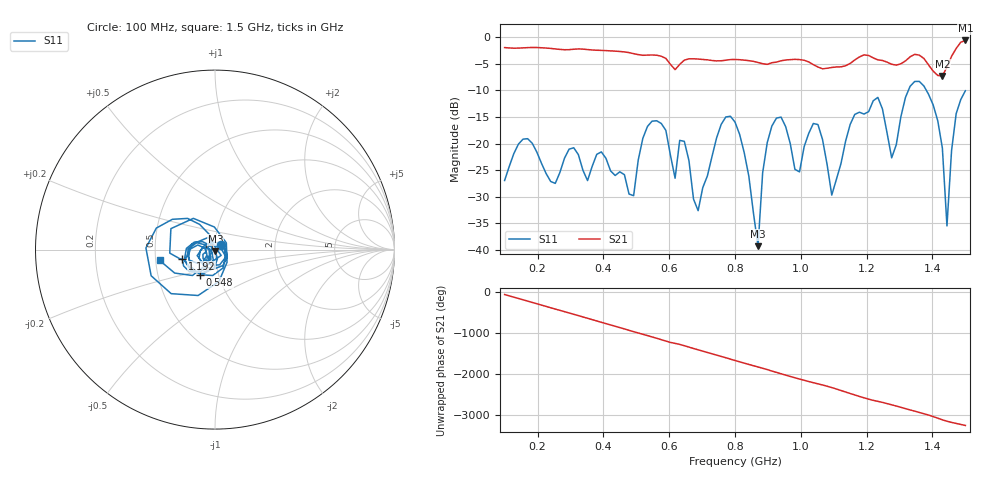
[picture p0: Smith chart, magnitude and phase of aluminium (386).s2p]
! NanoVNA-App
! Date: 2025-09-25 14:58:17
! Start: 100MHz Stop: 1,5GHz Points: 101
! S-Parameter data: F S11 S21 S12 S22
# Hz S RI R 50
!  Frequency  S11_Real  S11_Imag  S21_Real  S21_Imag  S12_Real  S12_Imag  S22_Real  S22_Imag
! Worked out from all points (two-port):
!   101 points, 100 MHz to 1.5 GHz, reference 50 ohm
!   highest |S21| = -0.58 dB at 1.5 GHz (marker M1); lowest = -7.3 dB at 1.43 GHz (marker M2)
!   |S21| within 3 dB of the highest: start of sweep to 576.9 MHz; 1.458 GHz to end of sweep (the widest 2 of 4)
!   lowest |S11| = -39.3 dB at 870 MHz (marker M3), VSWR 1.02, Z = 50.2 - j1.06 ohm
!   |S11| at or under -10 dB: start of sweep to 1.327 GHz; 1.382 GHz to end of sweep
!   S12 and S22 are empty: the file has one direction only
!   S11 on the Smith chart (normalised r, x): 100 MHz: 1.07, +0.06; 548 MHz: 0.82, -0.24; 1.192 GHz: 0.69, -0.08; 1.5 GHz: 0.53, -0.07
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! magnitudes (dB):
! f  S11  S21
! 100 MHz  -27.0  -1.9
! 156 MHz  -19.2  -2.0
! 338 MHz  -25.0  -2.2
! 492 MHz  -29.8  -3.1
! 548 MHz  -15.8  -3.3
! 576 MHz  -16.2  -3.6
! 646 MHz  -19.6  -4.3
! 688 MHz  -32.6  -4.1
! 800 MHz  -15.9  -4.2
! 870 MHz  -39.3  -4.7
! 912 MHz  -16.7  -4.8
! 996 MHz  -25.3  -4.2
! 1.038 GHz  -16.2  -5.1
! 1.094 GHz  -29.7  -5.7
! 1.192 GHz  -14.4  -3.3
! 1.234 GHz  -11.3  -4.2
! 1.276 GHz  -22.7  -5.1
! 1.346 GHz  -8.3  -3.2
! 1.43 GHz  -20.8  -7.3
! 1.444 GHz  -35.5  -5.6
! 1.472 GHz  -14.4  -2.1
! 1.5 GHz  -10.0  -0.6
